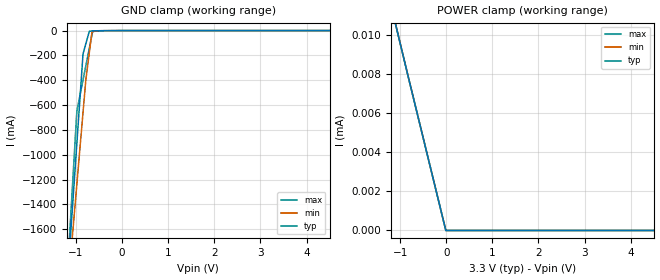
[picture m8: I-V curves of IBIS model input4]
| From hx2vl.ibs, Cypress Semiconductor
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[Model]   input4
Model_type   Input
Vinl = 0.8
Vinh = 2.0
|   typ   min   max
C_comp   0.9pF   0.8pF   1.0pF
[Voltage Range]   3.3   3   3.6
[Temperature Range]   25   100   -20
[Power Clamp Reference]   3.3   3   3.6
[GND Clamp Reference]   0   0   0
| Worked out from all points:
|   GND clamp passes 1 mA (typ) near -0.38 V on its own axis
[GND Clamp]
|   Voltage   I(typ)   I(min)   I(max)
-3.303V   -13.44A    -11.29A    -15.36A
-1.173V   -1.945A    -2.067A    -1.864A
-1.099V   -1.544A    -1.746A    -1.394A
-981.6mV  -910.7mA   -1.238A    -649.3mA
-848.1mV  -190.3mA   -661.4mA   -398.6mA
-786mV    -105.6mA   -395.3mA   -282.3mA
-709.5mV  -4.703mA   -173.1mA   -139mA
-654mV    -3.309mA   -16.59mA   -35.13mA
-636mV    -2.857mA   -11.26mA   -3.209mA
-510mV    -1.408mA   -1.457mA   -1.641mA
6.607V    0A         0A         0A
[POWER Clamp]
|   Voltage   I(typ)   I(min)   I(max)
-3.303V   115uA      124.7uA    106.7uA
-3.181V   30.7uA     30.86uA    30.94uA
-825mV    7.843uA    7.849uA    7.837uA
-9.6mV    452.9pA    5.336nA    0A
6.607V    0A         0A         0A
